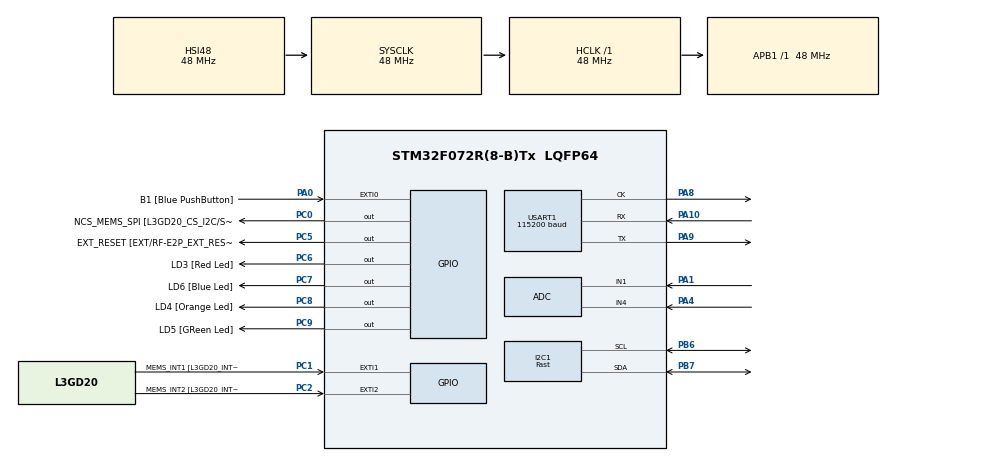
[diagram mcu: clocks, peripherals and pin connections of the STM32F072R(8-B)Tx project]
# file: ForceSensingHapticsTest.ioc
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ADC.ContinuousConvMode=DISABLE
ADC.DiscontinuousConvMode=ENABLE
ADC.EOCSelection=ADC_EOC_SINGLE_CONV
ADC.Overrun=ADC_OVR_DATA_PRESERVED
I2C1.I2C_Speed_Mode=I2C_Fast
I2C1.Timing=0x0000020B
Mcu.Family=STM32F0
Mcu.Name=STM32F072R(8-B)Tx
Mcu.Package=LQFP64
PA0.GPIO_Label=B1 [Blue PushButton]
PA0.GPIO_ModeDefaultEXTI=GPIO_MODE_EVT_RISING
PA0.Signal=GPXTI0
PA1.Mode=IN1
PA1.Signal=ADC_IN1
PA10.Mode=Synchronous
PA10.Signal=USART1_RX
PA11.GPIO_Label=USBF4_DM
PA11.Signal=USB_DM
PA12.GPIO_Label=USBF4_DP
PA12.Signal=USB_DP
PA13.GPIO_Label=SWDIO
PA13.Signal=SYS_SWDIO
PA14.GPIO_Label=SWCLK
PA14.Signal=SYS_SWCLK
PA2.Signal=TSC_G1_IO3
PA3.Signal=TSC_G1_IO4
PA4.Mode=IN4
PA4.Signal=ADC_IN4
PA6.Signal=TSC_G2_IO3
PA7.Signal=TSC_G2_IO4
PA8.Mode=Synchronous
PA8.Signal=USART1_CK
PA9.Mode=Synchronous
PA9.Signal=USART1_TX
PB0.Signal=TSC_G3_IO2
PB1.Signal=TSC_G3_IO3
PB10.GPIO_Label=I2C2_SCL[EXT/RF-E2P_SCL]
PB10.Signal=I2C2_SCL
PB11.GPIO_Label=I2C2_SDA[EXT/RF-E2P_SDA]
PB11.Signal=I2C2_SDA
PB13.GPIO_Label=SPI2_SCK [L3GD20_SCL/SPC]
PB13.Signal=SPI2_SCK
PB14.GPIO_Label=SPI2_MISO [L3GD20_SDO]
PB14.Signal=SPI2_MISO
PB15.GPIO_Label=SPI2_MOSI [L3GD20_SDA/SDI]
PB15.Signal=SPI2_MOSI
PB6.Mode=I2C
PB6.Signal=I2C1_SCL
PB7.Mode=I2C
PB7.Signal=I2C1_SDA
PC0.GPIO_Label=NCS_MEMS_SPI [L3GD20_CS_I2C/SPI]
PC0.Signal=GPIO_Output
PC1.GPIO_Label=MEMS_INT1 [L3GD20_INT1]
PC1.GPIO_ModeDefaultEXTI=GPIO_MODE_EVT_RISING
PC1.Signal=GPXTI1
PC2.GPIO_Label=MEMS_INT2 [L3GD20_INT2]
PC2.GPIO_ModeDefaultEXTI=GPIO_MODE_EVT_RISING
PC2.Signal=GPXTI2
PC5.GPIO_Label=EXT_RESET [EXT/RF-E2P_EXT_RESET]
PC5.Signal=GPIO_Output
PC6.GPIO_Label=LD3 [Red Led]
PC6.Signal=GPIO_Output
PC7.GPIO_Label=LD6 [Blue Led]
PC7.Signal=GPIO_Output
PC8.GPIO_Label=LD4 [Orange Led]
PC8.Signal=GPIO_Output
PC9.GPIO_Label=LD5 [GReen Led]
PC9.Signal=GPIO_Output
ProjectManager.HeapSize=0x200
ProjectManager.StackSize=0x400
ProjectManager.TargetToolchain=MDK-ARM V5.32
RCC.AHBFreq_Value=48000000
RCC.APB1Freq_Value=48000000
RCC.APB1TimFreq_Value=48000000
RCC.HCLKFreq_Value=48000000
RCC.PLLMUL=RCC_PLL_MUL6
RCC.SYSCLKFreq_VALUE=48000000
RCC.SYSCLKSource=RCC_SYSCLKSOURCE_HSI48
USART1.BaudRate=115200
USART1.VirtualMode-Synchronous=VM_SYNC
board=STM32F072B-DISCO

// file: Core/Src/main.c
/* USER CODE BEGIN Header */
/**
 ******************************************************************************
 * @file           : main.c
 * @brief          : Main program body
 ******************************************************************************
 * @attention
 *
 * Copyright (c) 2022 STMicroelectronics.
 * All rights reserved.
 *
 * This software is licensed under terms that can be found in the LICENSE file
 * in the root directory of this software component.
 * If no LICENSE file comes with this software, it is provided AS-IS.
 *
 ******************************************************************************
 */
/* USER CODE END Header */
#include "main.h"

/* USER CODE BEGIN Includes */

#include "get_set_bits.h"
#include <math.h>
#include <stdint.h>
#include <stdio.h>
#include <string.h>

/* USER CODE END Includes */

/* USER CODE BEGIN PD */

#define HAL_timeout_5s 5000
#define I2C_DRV2605_address (uint16_t)0x5A

/* USER CODE END PD */

ADC_HandleTypeDef hadc;

I2C_HandleTypeDef hi2c1;

USART_HandleTypeDef husart1;

void SystemClock_Config(void);
static void MX_GPIO_Init(void);
static void MX_ADC_Init(void);
static void MX_USART1_Init(void);
static void MX_I2C1_Init(void);

/* USER CODE BEGIN 0 */

enum usart_line_ending { NONE, LF, CR_LF };

void usart_transmit_string(char string[], enum usart_line_ending line_ending) {
    const char *line_ending_string;
    switch (line_ending) {
        case NONE:
            line_ending_string = "";
            break;
        case LF:
            line_ending_string = "\n";
            break;
        case CR_LF:
            line_ending_string = "\r\n";
            break;
    }

    char formatted_string[strlen((const char *)string) + 3];
    snprintf(formatted_string, sizeof(formatted_string), "%s%s", string, line_ending_string);
    if (HAL_USART_Transmit(&husart1, (uint8_t *)formatted_string, strlen((const char *)formatted_string),
                           HAL_timeout_5s) != HAL_OK) {
        Error_Handler();
    }
}

void i2c_write_register_byte(uint16_t slave_address, uint8_t register_address, uint8_t register_data) {
    uint16_t slave_write_address = (slave_address << 1) | 0x00;
    uint8_t register_byte_write_data[2] = {register_address, register_data};
    if (HAL_I2C_Master_Transmit(&hi2c1, slave_write_address, register_byte_write_data, sizeof(register_byte_write_data),
                                HAL_timeout_5s) != HAL_OK) {
        Error_Handler();
    }
}

uint8_t i2c_read_register_byte(uint16_t slave_address, uint8_t register_address) {
    uint16_t slave_write_address = (slave_address << 1) | 0x00;
    if (HAL_I2C_Master_Transmit(&hi2c1, slave_write_address, &register_address, 1, HAL_timeout_5s) != HAL_OK) {
        Error_Handler();
    }

    uint16_t slave_read_address = (slave_address << 1) | 0x01;
    uint8_t received_data_byte;
    if (HAL_I2C_Master_Receive(&hi2c1, slave_read_address, &received_data_byte, 1, HAL_timeout_5s) != HAL_OK) {
        Error_Handler();
    }
    return received_data_byte;
}

void drv2605_print_status() {
    usart_transmit_string("Reading DRV2605 status register...", CR_LF);
    uint8_t status_register = i2c_read_register_byte(I2C_DRV2605_address, 0x00);

    char formatted_status_register[50];
    sprintf(formatted_status_register, "Status register: %d (0x%.2x)", status_register, status_register);
    usart_transmit_string(formatted_status_register, CR_LF);

    uint8_t device_id = get_bits((uint32_t *)&status_register, 7, 5);
    char formatted_device_id[50];
    sprintf(formatted_device_id, "Device ID: %d (0x%.2x)", device_id, device_id);
    usart_transmit_string(formatted_device_id, CR_LF);
}

void drv2605_calibrate() {
    usart_transmit_string("Calibrating DRV2605...", CR_LF);
    i2c_write_register_byte(I2C_DRV2605_address, 0x01, 0x07); // Put device into calibration mode

    uint8_t control_3_register = i2c_read_register_byte(I2C_DRV2605_address, 0x1D);
    set_bit((uint32_t *)&control_3_register, 0, 5); // Closed Loop ERM mode
    i2c_write_register_byte(I2C_DRV2605_address, 0x1D, control_3_register);

    uint8_t feedback_control_register = i2c_read_register_byte(I2C_DRV2605_address, 0x1A);
    set_bit((uint32_t *)&feedback_control_register, 0, 7);     // ERM mode
    set_bits((uint32_t *)&feedback_control_register, 2, 6, 4); // Brake factor
    set_bits((uint32_t *)&feedback_control_register, 2, 3, 2); // Loop gain
    i2c_write_register_byte(I2C_DRV2605_address, 0x1A, feedback_control_register);

    i2c_write_register_byte(I2C_DRV2605_address, 0x16, 211); // Rated voltage of 4.5V (4.5 / 21.33e-3)
    i2c_write_register_byte(I2C_DRV2605_address, 0x17, 211); // Overdrive voltage-clamp of ??? TODO

    uint8_t control_4_register = i2c_read_register_byte(I2C_DRV2605_address, 0x1E);
    set_bits((uint32_t *)&control_4_register, 3, 5, 4); // Auto calibration time
    i2c_write_register_byte(I2C_DRV2605_address, 0x1E, control_4_register);

    uint8_t control_1_register = i2c_read_register_byte(I2C_DRV2605_address, 0x1B);
    set_bits((uint32_t *)&control_1_register, 0x13, 4, 0); // Drive time
    i2c_write_register_byte(I2C_DRV2605_address, 0x1B, control_1_register);

    i2c_write_register_byte(I2C_DRV2605_address, 0x0C, 0x01); // GO bit

    // Wait until calibration is done.
    while (i2c_read_register_byte(I2C_DRV2605_address, 0x0C)) {
    }

    uint8_t status_register = i2c_read_register_byte(I2C_DRV2605_address, 0x00);
    int8_t diag_result = get_bit((uint32_t *)&status_register, 3);
    if (diag_result == 0) {
        usart_transmit_string("DRV2605 calibration succeeded!", CR_LF);
    } else {
        usart_transmit_string("DRV2605 calibration failed!", CR_LF);
        Error_Handler();
    }
}

char *map_effect_name(uint8_t effect_number) {
    switch (effect_number) {
        case 1:
            return "1 - Strong Click - 100%";
        case 2:
            return "2 - Strong Click - 60%";
        case 3:
            return "3 - Strong Click - 30%";
        case 4:
            return "4 - Sharp Click - 100%";
        case 5:
            return "5 - Sharp Click - 60%";
        case 6:
            return "6 - Sharp Click - 30%";
        case 7:
            return "7 - Soft Bump - 100%";
        case 8:
            return "8 - Soft Bump - 60%";
        case 9:
            return "9 - Soft Bump - 30%";
        case 10:
            return "10 - Double Click - 100%";
        case 11:
            return "11 - Double Click - 60%";
        case 12:
            return "12 - Triple Click - 100%";
        case 13:
            return "13 - Soft Fuzz - 60%";
        case 14:
            return "14 - Strong Buzz - 100%";
        case 15:
            return "15 - 750 ms Alert 100%";
        case 16:
            return "16 - 1000 ms Alert 100%";
        case 17:
            return "17 - Strong Click 1 - 100%";
        case 18:
            return "18 - Strong Click 2 - 80%";
        case 19:
            return "19 - Strong Click 3 - 60%";
        case 20:
            return "20 - Strong Click 4 - 30%";
        case 21:
            return "21 - Medium Click 1 - 100%";
        case 22:
            return "22 - Medium Click 2 - 80%";
        case 23:
            return "23 - Medium Click 3 - 60%";
        case 24:
            return "24 - Sharp Tick 1 - 100%";
        case 25:
            return "25 - Sharp Tick 2 - 80%";
        case 26:
            return "26 - Sharp Tick 3 - 60%";
        case 27:
            return "27 - Short Double Click Strong 1 - 100%";
        case 28:
            return "28 - Short Double Click Strong 2 - 80%";
        case 29:
            return "29 - Short Double Click Strong 3 - 60%";
        case 30:
            return "30 - Short Double Click Strong 4 - 30%";
        case 31:
            return "31 - Short Double Click Medium 1 - 100%";
        case 32:
            return "32 - Short Double Click Medium 2 - 80%";
        case 33:
            return "33 - Short Double Click Medium 3 - 60%";
        case 34:
            return "34 - Short Double Sharp Tick 1 - 100%";
        case 35:
            return "35 - Short Double Sharp Tick 2 - 80%";
        case 36:
            return "36 - Short Double Sharp Tick 3 - 60%";
        case 37:
            return "37 - Long Double Sharp Click Strong 1 - 100%";
        case 38:
            return "38 - Long Double Sharp Click Strong 2 - 80%";
        case 39:
            return "39 - Long Double Sharp Click Strong 3 - 60%";
        case 40:
            return "40 - Long Double Sharp Click Strong 4 - 30%";
        case 41:
            return "41 - Long Double Sharp Click Medium 1 - 100%";
        case 42:
            return "42 - Long Double Sharp Click Medium 2 - 80%";
        case 43:
            return "43 - Long Double Sharp Click Medium 3 - 60%";
        case 44:
            return "44 - Long Double Sharp Tick 1 - 100%";
        case 45:
            return "45 - Long Double Sharp Tick 2 - 80%";
        case 46:
            return "46 - Long Double Sharp Tick 3 - 60%";
        case 47:
            return "47 - Buzz 1 - 100%";
        case 48:
            return "48 - Buzz 2 - 80%";
        case 49:
            return "49 - Buzz 3 - 60%";
        case 50:
            return "50 - Buzz 4 - 40%";
        case 51:
            return "51 - Buzz 5 - 20%";
        case 52:
            return "52 - Pulsing Strong 1 - 100%";
        case 53:
            return "53 - Pulsing Strong 2 - 60%";
        case 54:
            return "54 - Pulsing Medium 1 - 100%";
        case 55:
            return "55 - Pulsing Medium 2 - 60%";
        case 56:
            return "56 - Pulsing Sharp 1 - 100%";
        case 57:
            return "57 - Pulsing Sharp 2 - 60%";
        case 58:
            return "58 - Transition Click 1 - 100%";
        case 59:
            return "59 - Transition Click 2 - 80%";
        case 60:
            return "60 - Transition Click 3 - 60%";
        case 61:
            return "61 - Transition Click 4 - 40%";
        case 62:
            return "62 - Transition Click 5 - 20%";
        case 63:
            return "63 - Transition Click 6 - 10%";
        case 64:
            return "64 - Transition Hum 1 - 100%";
        case 65:
            return "65 - Transition Hum 2 - 80%";
        case 66:
            return "66 - Transition Hum 3 - 60%";
        case 67:
            return "67 - Transition Hum 4 - 40%";
        case 68:
            return "68 - Transition Hum 5 - 20%";
        case 69:
            return "69 - Transition Hum 6 - 10%";
        case 70:
            return "70 - Transition Ramp Down Long Smooth 1 - 100 to 0%";
        case 71:
            return "71 - Transition Ramp Down Long Smooth 2 - 100 to 0%";
        case 72:
            return "72 - Transition Ramp Down Medium Smooth 1 - 100 to 0%";
        case 73:
            return "73 - Transition Ramp Down Medium Smooth 2 - 100 to 0%";
        case 74:
            return "74 - Transition Ramp Down Short Smooth 1 - 100 to 0%";
        case 75:
            return "75 - Transition Ramp Down Short Smooth 2 - 100 to 0%";
        case 76:
            return "76 - Transition Ramp Down Long Sharp 1 - 100 to 0%";
        case 77:
            return "77 - Transition Ramp Down Long Sharp 2 - 100 to 0%";
        case 78:
            return "78 - Transition Ramp Down Medium Sharp 1 - 100 to 0%";
        case 79:
            return "79 - Transition Ramp Down Medium Sharp 2 - 100 to 0%";
        case 80:
            return "80 - Transition Ramp Down Short Sharp 1 - 100 to 0%";
        case 81:
            return "81 - Transition Ramp Down Short Sharp 2 - 100 to 0%";
        case 82:
            return "82 - Transition Ramp Up Long Smooth 1 - 0 to 100%";
        case 83:
            return "83 - Transition Ramp Up Long Smooth 2 - 0 to 100%";
        case 84:
            return "84 - Transition Ramp Up Medium Smooth 1 - 0 to 100%";
        case 85:
            return "85 - Transition Ramp Up Medium Smooth 2 - 0 to 100%";
        case 86:
            return "86 - Transition Ramp Up Short Smooth 1 - 0 to 100%";
        case 87:
            return "87 - Transition Ramp Up Short Smooth 2 - 0 to 100%";
        case 88:
            return "88 - Transition Ramp Up Long Sharp 1 - 0 to 100%";
        case 89:
            return "89 - Transition Ramp Up Long Sharp 2 - 0 to 100%";
        case 90:
            return "90 - Transition Ramp Up Medium Sharp 1 - 0 to 100%";
        case 91:
            return "91 - Transition Ramp Up Medium Sharp 2 - 0 to 100%";
        case 92:
            return "92 - Transition Ramp Up Short Sharp 1 - 0 to 100%";
        case 93:
            return "93 - Transition Ramp Up Short Sharp 2 - 0 to 100%";
        case 94:
            return "94 - Transition Ramp Down Long Smooth 1 - 50 to 0%";
        case 95:
            return "95 - Transition Ramp Down Long Smooth 2 - 50 to 0%";
        case 96:
            return "96 - Transition Ramp Down Medium Smooth 1 - 50 to 0%";
        case 97:
            return "97 - Transition Ramp Down Medium Smooth 2 - 50 to 0%";
        case 98:
            return "98 - Transition Ramp Down Short Smooth 1 - 50 to 0%";
        case 99:
            return "99 - Transition Ramp Down Short Smooth 2 - 50 to 0%";
        case 100:
            return "100 - Transition Ramp Down Long Sharp 1 - 50 to 0%";
        case 101:
            return "101 - Transition Ramp Down Long Sharp 2 - 50 to 0%";
        case 102:
            return "102 - Transition Ramp Down Medium Sharp 1 - 50 to 0%";
        case 103:
            return "103 - Transition Ramp Down Medium Sharp 2 - 50 to 0%";
        case 104:
            return "104 - Transition Ramp Down Short Sharp 1 - 50 to 0%";
        case 105:
            return "105 - Transition Ramp Down Short Sharp 2 - 50 to 0%";
        case 106:
            return "106 - Transition Ramp Up Long Smooth 1 - 0 to 50%";
        case 107:
            return "107 - Transition Ramp Up Long Smooth 2 - 0 to 50%";
        case 108:
            return "108 - Transition Ramp Up Medium Smooth 1 - 0 to 50%";
        case 109:
            return "109 - Transition Ramp Up Medium Smooth 2 - 0 to 50%";
        case 110:
            return "110 - Transition Ramp Up Short Smooth 1 - 0 to 50%";
        case 111:
            return "111 - Transition Ramp Up Short Smooth 2 - 0 to 50%";
        case 112:
            return "112 - Transition Ramp Up Long Sharp 1 - 0 to 50%";
        case 113:
            return "113 - Transition Ramp Up Long Sharp 2 - 0 to 50%";
        case 114:
            return "114 - Transition Ramp Up Medium Sharp 1 - 0 to 50%";
        case 115:
            return "115 - Transition Ramp Up Medium Sharp 2 - 0 to 50%";
        case 116:
            return "116 - Transition Ramp Up Short Sharp 1 - 0 to 50%";
        case 117:
            return "117 - Transition Ramp Up Short Sharp 2 - 0 to 50%";
        case 118:
            return "118 - Long buzz for programmatic stopping - 100%";
        case 119:
            return "119 - Smooth Hum 1 (No kick or brake pulse) - 50%";
        case 120:
            return "120 - Smooth Hum 2 (No kick or brake pulse) - 40%";
        case 121:
            return "121 - Smooth Hum 3 (No kick or brake pulse) - 30%";
        case 122:
            return "122 - Smooth Hum 4 (No kick or brake pulse) - 20%";
        case 123:
            return "123 - Smooth Hum 5 (No kick or brake pulse) - 10%";
        default:
            return "Unknown effect";
    }
}

void drv2605_user_button_cycle_effect_library() {
    usart_transmit_string("Configuring DRV2605 with waveform library effects and user button sequencing...", CR_LF);
    uint8_t feedback_control_register = i2c_read_register_byte(I2C_DRV2605_address, 0x1A);
    set_bit((uint32_t *)&feedback_control_register, 1, 7); // LRA mode
    i2c_write_register_byte(I2C_DRV2605_address, 0x1A, feedback_control_register);
    i2c_write_register_byte(I2C_DRV2605_address, 0x01, 0x00); // Internal trigger mode
    i2c_write_register_byte(I2C_DRV2605_address, 0x03, 0x02); // Waveform library selection

    uint8_t current_waveform_effect = 1;
    uint8_t user_button_pressed = 0;
    while (1) {
        if (HAL_GPIO_ReadPin(B1_GPIO_Port, B1_Pin) == 0) {
            if (user_button_pressed) {
                user_button_pressed = 0;
            } else {
                HAL_Delay(1);
                continue;
            }
        } else {
            user_button_pressed = 1;
            HAL_Delay(1);
            continue;
        }

        char *effect_waveform_name = map_effect_name(current_waveform_effect);
        char formatted_current_effect_string[50];
        sprintf(formatted_current_effect_string, "Playing effect number: (0x%.2x) %s", current_waveform_effect,
                effect_waveform_name);
        usart_transmit_string(formatted_current_effect_string, CR_LF);

        // Set waveform sequence effect number
        i2c_write_register_byte(I2C_DRV2605_address, 0x04, current_waveform_effect++);
        // Set GO bit
        i2c_write_register_byte(I2C_DRV2605_address, 0x0C, 0x01);
        // Wait for GO bit to clear
        while (i2c_read_register_byte(I2C_DRV2605_address, 0x0C)) {
        }

        if (current_waveform_effect > 123) {
            current_waveform_effect = 1;
        }
    }
}

void drv2605_user_button_rtp() {
    usart_transmit_string("Configuring DRV2605 with real-time playback via user button triggering...", CR_LF);
    i2c_write_register_byte(I2C_DRV2605_address, 0x01, 0x05); // RTP mode
    i2c_write_register_byte(I2C_DRV2605_address, 0x17, 0xFF); // Max overdrive voltage-clamp

    uint8_t user_button_pressed = 0;
    uint8_t toggle = 0;
    while (1) {
        if (HAL_GPIO_ReadPin(B1_GPIO_Port, B1_Pin) == 0) {
            if (user_button_pressed) {
                user_button_pressed = 0;
            } else {
                HAL_Delay(1);
                continue;
            }
        } else {
            user_button_pressed = 1;
            HAL_Delay(1);
            continue;
        }

        if (toggle) {
            toggle = 0;
            i2c_write_register_byte(I2C_DRV2605_address, 0x02, INT8_MAX);
            HAL_Delay(25);
            i2c_write_register_byte(I2C_DRV2605_address, 0x02, 0);
        } else {
            toggle = 1;
            i2c_write_register_byte(I2C_DRV2605_address, 0x02, INT8_MAX);
            HAL_Delay(20);
            i2c_write_register_byte(I2C_DRV2605_address, 0x02, 0);
        }
    }
}

void force_sensing_haptics_test() {
    usart_transmit_string("Configuring DRV2605 with real-time playback in response to force sensing...", CR_LF);
    i2c_write_register_byte(I2C_DRV2605_address, 0x01, 0x05); // RTP mode
    i2c_write_register_byte(I2C_DRV2605_address, 0x17, 0xFF); // Max overdrive voltage-clamp
    uint8_t feedback_control_register = i2c_read_register_byte(I2C_DRV2605_address, 0x1A);
    set_bit((uint32_t *)&feedback_control_register, 1, 7); // LRA mode
    i2c_write_register_byte(I2C_DRV2605_address, 0x1A, feedback_control_register);

    uint8_t force_pressed = 0;
    while (1) {
        uint32_t count = 2000;
        uint32_t sum_in_1 = 0;
        uint32_t sum_in_4 = 0;
        for (int i = 0; i < count; i++) {
            HAL_ADC_Start(&hadc);
            HAL_ADC_PollForConversion(&hadc, HAL_timeout_5s);
            sum_in_1 += HAL_ADC_GetValue(&hadc);

            HAL_ADC_Start(&hadc);
            HAL_ADC_PollForConversion(&hadc, HAL_timeout_5s);
            sum_in_4 += HAL_ADC_GetValue(&hadc);
            HAL_ADC_Stop(&hadc);
        }
        float adc_value_in_1 = (float)sum_in_1 / (float)count;
        float adc_value_in_4 = (float)sum_in_4 / (float)count;
        float absolute_difference = fabs(adc_value_in_4 - adc_value_in_1);

        char formatted_adc_value[100];
        sprintf(formatted_adc_value, "ADC IN 1: %f \t ADC IN 4: %f \t Difference: %f", adc_value_in_1, adc_value_in_4,
                absolute_difference);
        usart_transmit_string(formatted_adc_value, CR_LF);

        if (!force_pressed && absolute_difference > 1.65) {
            force_pressed = 1;

            i2c_write_register_byte(I2C_DRV2605_address, 0x02, INT8_MAX);
            HAL_Delay(10);
            i2c_write_register_byte(I2C_DRV2605_address, 0x02, 0);
        } else if (force_pressed && absolute_difference < 1.35) {
            force_pressed = 0;

            i2c_write_register_byte(I2C_DRV2605_address, 0x02, INT8_MAX);
            HAL_Delay(8);
            i2c_write_register_byte(I2C_DRV2605_address, 0x02, 0);
        }
    }
}

/* USER CODE END 0 */

int main(void) {

    /* MCU Configuration--------------------------------------------------------*/

    /* Reset of all peripherals, Initializes the Flash interface and the Systick. */
    HAL_Init();

    /* Configure the system clock */
    SystemClock_Config();

    /* Initialize all configured peripherals */
    MX_GPIO_Init();
    MX_ADC_Init();
    MX_USART1_Init();
    MX_I2C1_Init();
    /* USER CODE BEGIN 2 */

    // Print some new lines
    for (int i = 0; i < 3; i++) {
        usart_transmit_string("", CR_LF);
    }

    // drv2605_print_status();
    // drv2605_user_button_cycle_effect_library();
    // drv2605_user_button_rtp();
    force_sensing_haptics_test();

    /*uint8_t control_3_register = i2c_read_register_byte(I2C_DRV2605_address, 0x1D);
    set_bit((uint32_t*) &control_3_register, 0, 5); // Closed Loop ERM mode
    i2c_write_register_byte(I2C_DRV2605_address, 0x1D, control_3_register);
    i2c_write_register_byte(I2C_DRV2605_address, 0x16, 0xFF); // Rated voltage of 4.5V (4.5 / 21.33e-3)
    i2c_write_register_byte(I2C_DRV2605_address, 0x17, 0xFF); // Overdrive voltage-clamp
    i2c_write_register_byte(I2C_DRV2605_address, 0x01, 0x05);
    i2c_write_register_byte(I2C_DRV2605_address, 0x02, 127);*/

    /* USER CODE END 2 */

    /* Infinite loop */
    while (1) {

    }
}

void SystemClock_Config(void) {
    RCC_OscInitTypeDef RCC_OscInitStruct = {0};
    RCC_ClkInitTypeDef RCC_ClkInitStruct = {0};
    RCC_PeriphCLKInitTypeDef PeriphClkInit = {0};

    /** Initializes the RCC Oscillators according to the specified parameters
     * in the RCC_OscInitTypeDef structure.
     */
    RCC_OscInitStruct.OscillatorType = RCC_OSCILLATORTYPE_HSI | RCC_OSCILLATORTYPE_HSI14 | RCC_OSCILLATORTYPE_HSI48;
    RCC_OscInitStruct.HSIState = RCC_HSI_ON;
    RCC_OscInitStruct.HSI48State = RCC_HSI48_ON;
    RCC_OscInitStruct.HSI14State = RCC_HSI14_ON;
    RCC_OscInitStruct.HSICalibrationValue = RCC_HSICALIBRATION_DEFAULT;
    RCC_OscInitStruct.HSI14CalibrationValue = 16;
    RCC_OscInitStruct.PLL.PLLState = RCC_PLL_NONE;
    if (HAL_RCC_OscConfig(&RCC_OscInitStruct) != HAL_OK) {
        Error_Handler();
    }

    /** Initializes the CPU, AHB and APB buses clocks
     */
    RCC_ClkInitStruct.ClockType = RCC_CLOCKTYPE_HCLK | RCC_CLOCKTYPE_SYSCLK | RCC_CLOCKTYPE_PCLK1;
    RCC_ClkInitStruct.SYSCLKSource = RCC_SYSCLKSOURCE_HSI48;
    RCC_ClkInitStruct.AHBCLKDivider = RCC_SYSCLK_DIV1;
    RCC_ClkInitStruct.APB1CLKDivider = RCC_HCLK_DIV1;

    if (HAL_RCC_ClockConfig(&RCC_ClkInitStruct, FLASH_LATENCY_1) != HAL_OK) {
        Error_Handler();
    }
    PeriphClkInit.PeriphClockSelection = RCC_PERIPHCLK_USART1 | RCC_PERIPHCLK_I2C1;
    PeriphClkInit.Usart1ClockSelection = RCC_USART1CLKSOURCE_PCLK1;
    PeriphClkInit.I2c1ClockSelection = RCC_I2C1CLKSOURCE_HSI;
    if (HAL_RCCEx_PeriphCLKConfig(&PeriphClkInit) != HAL_OK) {
        Error_Handler();
    }
}

static void MX_ADC_Init(void) {

    ADC_ChannelConfTypeDef sConfig = {0};

    /** Configure the global features of the ADC (Clock, Resolution, Data Alignment and number of conversion)
     */
    hadc.Instance = ADC1;
    hadc.Init.ClockPrescaler = ADC_CLOCK_ASYNC_DIV1;
    hadc.Init.Resolution = ADC_RESOLUTION_12B;
    hadc.Init.DataAlign = ADC_DATAALIGN_RIGHT;
    hadc.Init.ScanConvMode = ADC_SCAN_DIRECTION_FORWARD;
    hadc.Init.EOCSelection = ADC_EOC_SINGLE_CONV;
    hadc.Init.LowPowerAutoWait = DISABLE;
    hadc.Init.LowPowerAutoPowerOff = DISABLE;
    hadc.Init.ContinuousConvMode = DISABLE;
    hadc.Init.DiscontinuousConvMode = ENABLE;
    hadc.Init.ExternalTrigConv = ADC_SOFTWARE_START;
    hadc.Init.ExternalTrigConvEdge = ADC_EXTERNALTRIGCONVEDGE_NONE;
    hadc.Init.DMAContinuousRequests = DISABLE;
    hadc.Init.Overrun = ADC_OVR_DATA_PRESERVED;
    if (HAL_ADC_Init(&hadc) != HAL_OK) {
        Error_Handler();
    }

    /** Configure for the selected ADC regular channel to be converted.
     */
    sConfig.Channel = ADC_CHANNEL_1;
    sConfig.Rank = ADC_RANK_CHANNEL_NUMBER;
    sConfig.SamplingTime = ADC_SAMPLETIME_1CYCLE_5;
    if (HAL_ADC_ConfigChannel(&hadc, &sConfig) != HAL_OK) {
        Error_Handler();
    }

    /** Configure for the selected ADC regular channel to be converted.
     */
    sConfig.Channel = ADC_CHANNEL_4;
    if (HAL_ADC_ConfigChannel(&hadc, &sConfig) != HAL_OK) {
        Error_Handler();
    }
}

static void MX_I2C1_Init(void) {

    hi2c1.Instance = I2C1;
    hi2c1.Init.Timing = 0x0000020B;
    hi2c1.Init.OwnAddress1 = 0;
    hi2c1.Init.AddressingMode = I2C_ADDRESSINGMODE_7BIT;
    hi2c1.Init.DualAddressMode = I2C_DUALADDRESS_DISABLE;
    hi2c1.Init.OwnAddress2 = 0;
    hi2c1.Init.OwnAddress2Masks = I2C_OA2_NOMASK;
    hi2c1.Init.GeneralCallMode = I2C_GENERALCALL_DISABLE;
    hi2c1.Init.NoStretchMode = I2C_NOSTRETCH_DISABLE;
    if (HAL_I2C_Init(&hi2c1) != HAL_OK) {
        Error_Handler();
    }

    /** Configure Analogue filter
     */
    if (HAL_I2CEx_ConfigAnalogFilter(&hi2c1, I2C_ANALOGFILTER_ENABLE) != HAL_OK) {
        Error_Handler();
    }

    /** Configure Digital filter
     */
    if (HAL_I2CEx_ConfigDigitalFilter(&hi2c1, 0) != HAL_OK) {
        Error_Handler();
    }
}

static void MX_USART1_Init(void) {

    husart1.Instance = USART1;
    husart1.Init.BaudRate = 115200;
    husart1.Init.WordLength = USART_WORDLENGTH_8B;
    husart1.Init.StopBits = USART_STOPBITS_1;
    husart1.Init.Parity = USART_PARITY_NONE;
    husart1.Init.Mode = USART_MODE_TX_RX;
    husart1.Init.CLKPolarity = USART_POLARITY_LOW;
    husart1.Init.CLKPhase = USART_PHASE_1EDGE;
    husart1.Init.CLKLastBit = USART_LASTBIT_DISABLE;
    if (HAL_USART_Init(&husart1) != HAL_OK) {
        Error_Handler();
    }
}

static void MX_GPIO_Init(void) {
    GPIO_InitTypeDef GPIO_InitStruct = {0};

    /* GPIO Ports Clock Enable */
    __HAL_RCC_GPIOC_CLK_ENABLE();
    __HAL_RCC_GPIOA_CLK_ENABLE();
    __HAL_RCC_GPIOB_CLK_ENABLE();

    /*Configure GPIO pin Output Level */
    HAL_GPIO_WritePin(GPIOC, NCS_MEMS_SPI_Pin | EXT_RESET_Pin | LD3_Pin | LD6_Pin | LD4_Pin | LD5_Pin, GPIO_PIN_RESET);

    /*Configure GPIO pins : NCS_MEMS_SPI_Pin EXT_RESET_Pin LD3_Pin LD6_Pin
                             LD4_Pin LD5_Pin */
    GPIO_InitStruct.Pin = NCS_MEMS_SPI_Pin | EXT_RESET_Pin | LD3_Pin | LD6_Pin | LD4_Pin | LD5_Pin;
    GPIO_InitStruct.Mode = GPIO_MODE_OUTPUT_PP;
    GPIO_InitStruct.Pull = GPIO_NOPULL;
    GPIO_InitStruct.Speed = GPIO_SPEED_FREQ_LOW;
    HAL_GPIO_Init(GPIOC, &GPIO_InitStruct);

    /*Configure GPIO pins : MEMS_INT1_Pin MEMS_INT2_Pin */
    GPIO_InitStruct.Pin = MEMS_INT1_Pin | MEMS_INT2_Pin;
    GPIO_InitStruct.Mode = GPIO_MODE_EVT_RISING;
    GPIO_InitStruct.Pull = GPIO_NOPULL;
    HAL_GPIO_Init(GPIOC, &GPIO_InitStruct);

    /*Configure GPIO pin : B1_Pin */
    GPIO_InitStruct.Pin = B1_Pin;
    GPIO_InitStruct.Mode = GPIO_MODE_EVT_RISING;
    GPIO_InitStruct.Pull = GPIO_NOPULL;
    HAL_GPIO_Init(B1_GPIO_Port, &GPIO_InitStruct);

    /*Configure GPIO pins : PA2 PA3 PA6 PA7 */
    GPIO_InitStruct.Pin = GPIO_PIN_2 | GPIO_PIN_3 | GPIO_PIN_6 | GPIO_PIN_7;
    GPIO_InitStruct.Mode = GPIO_MODE_AF_PP;
    GPIO_InitStruct.Pull = GPIO_NOPULL;
    GPIO_InitStruct.Speed = GPIO_SPEED_FREQ_LOW;
    GPIO_InitStruct.Alternate = GPIO_AF3_TSC;
    HAL_GPIO_Init(GPIOA, &GPIO_InitStruct);

    /*Configure GPIO pins : PB0 PB1 */
    GPIO_InitStruct.Pin = GPIO_PIN_0 | GPIO_PIN_1;
    GPIO_InitStruct.Mode = GPIO_MODE_AF_PP;
    GPIO_InitStruct.Pull = GPIO_NOPULL;
    GPIO_InitStruct.Speed = GPIO_SPEED_FREQ_LOW;
    GPIO_InitStruct.Alternate = GPIO_AF3_TSC;
    HAL_GPIO_Init(GPIOB, &GPIO_InitStruct);

    /*Configure GPIO pins : I2C2_SCL_Pin I2C2_SDA_Pin */
    GPIO_InitStruct.Pin = I2C2_SCL_Pin | I2C2_SDA_Pin;
    GPIO_InitStruct.Mode = GPIO_MODE_AF_OD;
    GPIO_InitStruct.Pull = GPIO_NOPULL;
    GPIO_InitStruct.Speed = GPIO_SPEED_FREQ_HIGH;
    GPIO_InitStruct.Alternate = GPIO_AF1_I2C2;
    HAL_GPIO_Init(GPIOB, &GPIO_InitStruct);

    /*Configure GPIO pins : SPI2_SCK_Pin SPI2_MISO_Pin SPI2_MOSI_Pin */
    GPIO_InitStruct.Pin = SPI2_SCK_Pin | SPI2_MISO_Pin | SPI2_MOSI_Pin;
    GPIO_InitStruct.Mode = GPIO_MODE_AF_PP;
    GPIO_InitStruct.Pull = GPIO_NOPULL;
    GPIO_InitStruct.Speed = GPIO_SPEED_FREQ_HIGH;
    GPIO_InitStruct.Alternate = GPIO_AF0_SPI2;
    HAL_GPIO_Init(GPIOB, &GPIO_InitStruct);
}

void Error_Handler(void) {
    /* USER CODE BEGIN Error_Handler_Debug */
    /* User can add his own implementation to report the HAL error return state */
    //__disable_irq();
    while (1) {
        HAL_GPIO_TogglePin(GPIOC, LD3_Pin);
        HAL_Delay(250);
    }
    /* USER CODE END Error_Handler_Debug */
}
